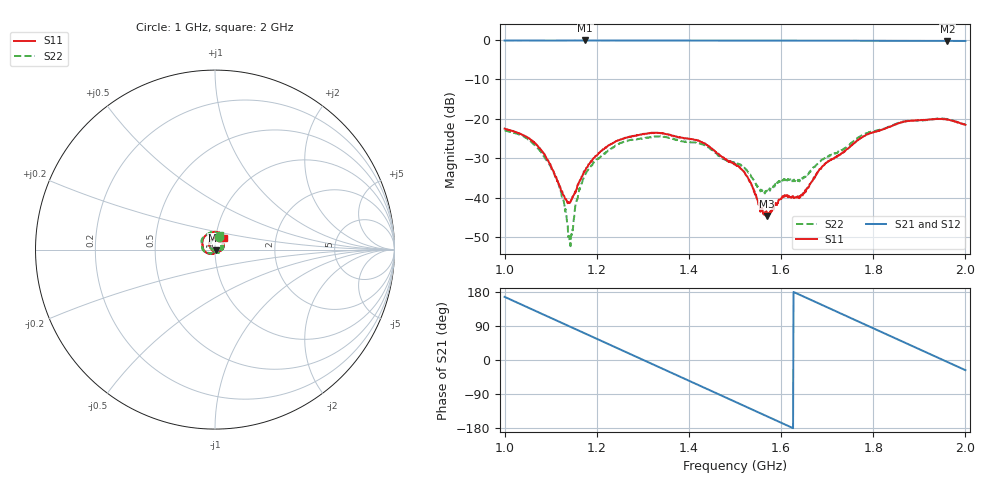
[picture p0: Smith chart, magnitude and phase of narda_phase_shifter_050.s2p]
#  HZ  S  DB  R  50.00
! Rohde & Schwarz Vector Network Analyzer
! Rohde-Schwarz,ZNB8-4Port,1311601044102961,2.82
! Created: UTC 3/4/2022, 4:05:08 PM
! freq[Hz]  db:S11  ang:S11  db:S21  ang:S21  db:S12  ang:S12  db:S22  ang:S22
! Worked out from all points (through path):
!   1001 points, 1 GHz to 2 GHz, reference 50 ohm
!   highest |S21| = -0.16 dB at 1.175 GHz (marker M1); lowest = -0.3 dB at 1.961 GHz (marker M2)
!   group delay of S21, straight-line fit = 1.54 ns
!   lowest |S11| = -44.7 dB at 1.569 GHz (marker M3), VSWR 1.01, Z = 50.4 - j0.45 ohm
!   |S11| at or under -10 dB: start of sweep to end of sweep
!   |S22| runs from -52.3 to -19.9 dB; largest |S21 - S12| = 0.0025
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1e9  -22.52 73.5  -0.17 166.6  -0.16 166.6  -22.96 73.7
1.052e9  -24.90 41.1  -0.17 137.8  -0.16 137.8  -25.25 42.7
1.095e9  -30.72 6.6  -0.19 114.1  -0.18 114.1  -31.32 6.6
1.123e9  -38.32 -35.4  -0.18 98.6  -0.17 98.6  -38.86 -21.7
1.143e9  -41.13 -111.0  -0.17 87.5  -0.17 87.5  -52.32 -120.7
1.167e9  -34.69 -178.2  -0.17 74.2  -0.16 74.2  -36.42 173.4
1.175e9  -33.04 171.8  -0.16 69.8  -0.16 69.8  -34.20 170.1
1.209e9  -28.19 143.9  -0.17 50.9  -0.17 50.9  -29.48 147.4
1.259e9  -24.97 115.2  -0.18 23.2  -0.19 23.2  -25.83 112.2
1.334e9  -23.62 71.0  -0.20 -18.3  -0.19 -18.2  -24.54 70.2
1.422e9  -25.65 20.3  -0.20 -66.9  -0.19 -66.8  -26.23 17.0
1.5e9  -31.46 -22.3  -0.19 -110.1  -0.19 -110.0  -31.35 -36.1
1.524e9  -34.29 -33.5  -0.20 -123.3  -0.19 -123.3  -32.94 -49.4
1.569e9  -44.69 -50.0  -0.19 -148.3  -0.19 -148.3  -38.34 -94.4
1.619e9  -39.86 -70.2  -0.20 -176.0  -0.20 -176.0  -35.46 -108.0
1.643e9  -39.38 -76.6  -0.21 170.7  -0.20 170.7  -35.64 -119.5
1.667e9  -35.86 -93.7  -0.21 157.4  -0.21 157.4  -33.02 -131.9
1.754e9  -26.74 -154.1  -0.22 109.1  -0.21 109.2  -25.97 -162.4
1.834e9  -22.09 154.4  -0.25 64.9  -0.25 64.9  -22.01 157.9
1.901e9  -20.39 113.0  -0.27 27.9  -0.27 27.9  -20.44 123.2
1.961e9  -20.22 75.6  -0.29 -5.2  -0.28 -5.2  -20.13 92.0
2e9  -21.54 51.5  -0.28 -26.8  -0.27 -26.8  -21.49 69.6
